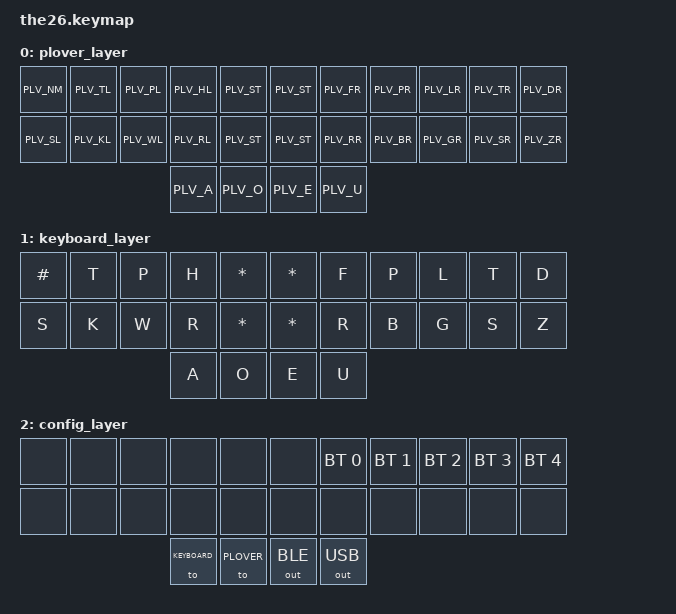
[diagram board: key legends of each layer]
#include <behaviors.dtsi>
#include <dt-bindings/zmk/keys.h>
#include <dt-bindings/zmk/bt.h>
#include <dt-bindings/zmk/outputs.h>

#define PLOVER 0
#define KEYBOARD 1
#define CONFIG 2

/ {
    combos {
            compatible = "zmk,combos";
            combo_config_layer {
                timeout-ms = <50>;
                key-positions = <4 5 15 16>;
                bindings = <&mo CONFIG>;
            };
            combo_ble_clear {
                timeout-ms = <1000>;
                key-positions = <4 5 15 16 18>;
                bindings = <&bt BT_CLR>;
                layers = <CONFIG>;
            };
            combo_soft_off {
                timeout-ms = <1000>;
                key-positions = <0 4 5 11 15 16>;
                bindings = <&soft_off>;
                layers = <CONFIG>;
            };
        };
    keymap {
        compatible = "zmk,keymap";
        plover_layer {
            bindings = <
    &kp PLV_NM &kp PLV_TL &kp PLV_PL &kp PLV_HL  &kp PLV_ST            &kp PLV_ST  &kp PLV_FR    &kp PLV_PR    &kp PLV_LR    &kp PLV_TR    &kp PLV_DR
    &kp PLV_SL &kp PLV_KL &kp PLV_WL &kp PLV_RL  &kp PLV_ST            &kp PLV_ST  &kp PLV_RR    &kp PLV_BR    &kp PLV_GR    &kp PLV_SR    &kp PLV_ZR
                                     &kp PLV_A   &kp PLV_O             &kp PLV_E   &kp PLV_U 
            >;
        };
        keyboard_layer {
            bindings = <
    &kp HASH    &kp T    &kp P    &kp H    &kp STAR            &kp STAR    &kp F    &kp P    &kp L    &kp T    &kp D
    &kp S       &kp K    &kp W    &kp R    &kp STAR            &kp STAR    &kp R    &kp B    &kp G    &kp S    &kp Z
                                  &kp A    &kp O               &kp E       &kp U 
            >;
        };
        config_layer {
            bindings = <
    &none    &none    &none    &none    &none                    &none    &bt BT_SEL 0 &bt BT_SEL 1 &bt BT_SEL 2 &bt BT_SEL 3 &bt BT_SEL 4
    &none    &none    &none    &none    &none                    &none    &none        &none        &none        &none        &none
                               &to KEYBOARD &to PLOVER           &out OUT_BLE   &out OUT_USB 
            >;
        };
    };
};
